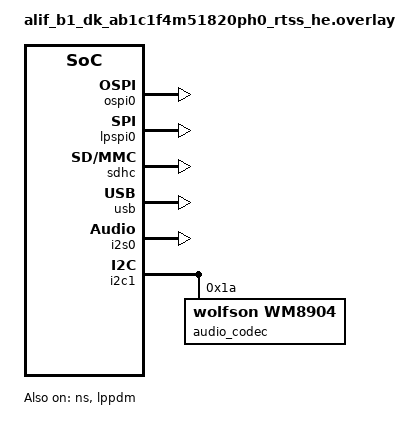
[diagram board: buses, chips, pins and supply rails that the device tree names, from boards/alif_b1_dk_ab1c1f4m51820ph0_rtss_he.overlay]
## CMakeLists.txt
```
# Copyright (C) 2024 Alif Semiconductor - All Rights Reserved.
# Use, distribution and modification of this code is permitted under the
# terms stated in the Alif Semiconductor Software License Agreement
#
# You should have received a copy of the Alif Semiconductor Software
# License Agreement with this file. If not, please write to:
# contact@alifsemi.com, or visit: https://alifsemi.com/license

cmake_minimum_required(VERSION 3.20.0)
find_package(Zephyr REQUIRED HINTS $ENV{ZEPHYR_BASE})
project(exerciser_app)

include(${ZEPHYR_BASE}/samples/subsys/usb/common/common.cmake)
target_sources(app PRIVATE src/main.c src/codec.c src/blinky.c src/ospi.c src/spi.c src/sd.c src/usb.c src/pdm.c src/i2s.c src/hello_sample.h)
```

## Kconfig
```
#
# Copyright (c) 2023 Nordic Semiconductor ASA
# Copyright (c) 2023 Antmicro <www.antmicro.com>
#
# SPDX-License-Identifier: Apache-2.0
#

mainmenu "Filesystems Sample Application"

config FS_SAMPLE_CREATE_SOME_ENTRIES
	bool "When no files are found on mounted partition create some"
	default y
	help
	  In case when no files could be listed, because there are none,
	  "some.dir" directory and "other.txt" file will be created
	  and list will run again to show them. This is useful when
	  showing how file system works on non-SD devices like internal
	  flash or (Q)SPI connected memories, where it is not possible to
	  easily add files with use of other device.

config I2S_INIT_BUFFERS
        int "Initial count of audio data blocks"
        default 2
        help
          Controls the initial count of audio data blocks, which are (optionally)
          filled by data from the DMIC peripheral and played back by the I2S
          output perihperal.

config SAMPLE_FREQ
        int "Sample rate"
        default 48000
        help
          Sample frequency of the system.

source "samples/subsys/usb/common/Kconfig.sample_usbd"

source "Kconfig.zephyr"
```

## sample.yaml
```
sample:
  name: SPI Designware Driver Sample
tests:
  sample.drivers.spi.dw:
    tags: drivers spi gpio dma LED
    filter: dt_enabled_alias_with_parent_compat("led0", "gpio-leds")
    platform_allow: ensemble
    depends_on: gpio
    harness: led
```

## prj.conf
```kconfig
CONFIG_GPIO=y

#ospi

CONFIG_STDOUT_CONSOLE=y
CONFIG_FLASH=y
CONFIG_OSPI_FLASH_IS25WX=y
CONFIG_ARM_MPU=y
CONFIG_CPU_HAS_CUSTOM_FIXED_SOC_MPU_REGIONS=y
CONFIG_EVENTS=y
#CONFIG_MAIN_STACK_SIZE=8192
CONFIG_MAIN_STACK_SIZE=20480
#CONFIG_MAIN_STACK_SIZE=45056
CONFIG_FLASH_LOG_LEVEL_DBG=n
CONFIG_USE_ALIF_HAL_OSPI=y

#spi
CONFIG_STDOUT_CONSOLE=y
CONFIG_SPI=y
CONFIG_SPI_DW=y
CONFIG_SPI_SLAVE=y
CONFIG_SPI_LOG_LEVEL_INF=n
CONFIG_SPI_LOG_LEVEL_DBG=n
CONFIG_LOG=n
CONFIG_DMA=y
CONFIG_DMA_PL330=y
CONFIG_SPI_DW_USE_DMA=y
CONFIG_PRINTK=y
CONFIG_DMA_LOG_LEVEL_INF=n

#sd
#CONFIG_DEBUG=y
#CONFIG_LOG_MODE_IMMEDIATE=y
#CONFIG_NO_OPTIMIZATIONS=y
#CONFIG_LOG_PRINTK=y

#FATFS
CONFIG_FS_SAMPLE_CREATE_SOME_ENTRIES=n
CONFIG_FS_FATFS_WINDOW_ALIGNMENT=512
CONFIG_FS_FATFS_LFN=y
CONFIG_FS_LOG_LEVEL_ERR=y
CONFIG_FS_LOG_LEVEL_INF=y

#SDHC LOG
CONFIG_SDHC_LOG_LEVEL_INF=y
CONFIG_SDHC_LOG_LEVEL_ERR=y

#SDHC DMA
CONFIG_SDHC_RSP_136_HAS_CRC=y
CONFIG_INTEL_EMMC_HOST=y
CONFIG_INTEL_EMMC_HOST_DMA=y
CONFIG_INTEL_EMMC_HOST_ADMA=y


#sd_org_prj
CONFIG_DISK_ACCESS=y
CONFIG_LOG=y
CONFIG_FILE_SYSTEM=y
CONFIG_FAT_FILESYSTEM_ELM=y
#CONFIG_PRINTK=y

# Copyright (c) 2023 Antmicro <www.antmicro.com>
# SPDX-License-Identifier: Apache-2.0

#CONFIG_LOG=y
#CONFIG_LOG_MODE_IMMEDIATE=y

#CONFIG_FILE_SYSTEM=y
##CONFIG_FILE_SYSTEM_EXT2=y

# Enable to allow formatting
## CONFIG_FILE_SYSTEM_MKFS=y
## CONFIG_TEST_RANDOM_GENERATOR=y

#CONFIG_DISK_DRIVER_SDMMC=y

# First block of first partition after GPT
#CONFIG_EXT2_DISK_STARTING_SECTOR=2082

#usb-next
CONFIG_USB_DEVICE_STACK_NEXT=y
CONFIG_STDOUT_CONSOLE=y
CONFIG_SERIAL=y
CONFIG_UART_LINE_CTRL=y
CONFIG_USBD_CDC_ACM_CLASS=y
CONFIG_USBD_LOG_LEVEL_WRN=y
CONFIG_UDC_DRIVER_LOG_LEVEL_WRN=y
CONFIG_USBD_CDC_ACM_LOG_LEVEL_ERR=y
CONFIG_SAMPLE_USBD_PID=0x0001
CONFIG_SAMPLE_USBD_PRODUCT="USBD CDC ACM sample"

#pdm
CONFIG_AUDIO=y
CONFIG_AUDIO_DMIC=y

#i2s
CONFIG_I2S=y
CONFIG_AUDIO=y
CONFIG_AUDIO_DMIC=y

#codec

CONFIG_I2C=y
CONFIG_HEAP_MEM_POOL_SIZE=81920
CONFIG_AUDIO=y
CONFIG_AUDIO_CODEC=y
CONFIG_AUDIO_CODEC_WM8904=y
CONFIG_SAMPLE_FREQ=48000
```

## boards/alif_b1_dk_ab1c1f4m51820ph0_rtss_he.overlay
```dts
/*
 * Copyright (c) 2025 Alif Semiconductor.
 * SPDX-License-Identifier: Apache-2.0
 */

/{
        aliases {
                spi-flash0 = &ospi_flash;
        };
};

&pinctrl {
        //Flash connected with "P2_1_OSPI0_SS1_B" CS line
        pinctrl_flash:pinctrl_flash {
                group0 {
                        pinmux = <PIN_P4_2__OSPI0_SCLK_A>,
                                 <PIN_P4_1__OSPI0_RXDS_A>,
                                 <PIN_P2_1__OSPI0_SS1_B>,
                                 <PIN_P3_0__OSPI0_D0_A>,
                                 <PIN_P3_1__OSPI0_D1_A>,
                                 <PIN_P3_2__OSPI0_D2_A>,
                                 <PIN_P3_3__OSPI0_D3_A>,
                                 <PIN_P3_4__OSPI0_D4_A>,
                                 <PIN_P3_5__OSPI0_D5_A>,
                                 <PIN_P3_6__OSPI0_D6_A>,
                                 <PIN_P3_7__OSPI0_D7_A>;
                        read-enable = <0x1>;
                        drive-strength = <12>;
                        slew-rate = <0x1>;
                };
        };

        //Default AHI Trace pins affects OSPI-Flash pins.
        pinctrl_ahi_trace: pinctrl_ahi_trace {
                group0 {
                        pinmux = <PIN_P8_7__EXT_TX_B>,
                                 <PIN_P8_3__EXT_RTS_B>,
                                 <PIN_P8_5__EXT_TRACE_B>;
                        read-enable = < 0x0 >;
                };
        };
};

&ospi0 {
        pinctrl-0 = <&pinctrl_flash>;
        status = "okay";
};

#define SPI_MASTER_SS_SW_CONTROLLED_GPIO   0

/ {

	aliases {
		master-spi = &lpspi0;
		slave-spi = &spi0;
	};
};

&dma2 {
	status = "okay";
};

&lpspi0 {
	status = "okay";

	dmas = <&dma2 0 13>, <&dma2 1 12>;
	dma-names = "txdma", "rxdma";

#if SPI_MASTER_SS_SW_CONTROLLED_GPIO
	cs-gpios = <&gpio2 0 GPIO_ACTIVE_LOW>;
	interrupts = <46 0>;
#endif
};

#if SPI_MASTER_SS_SW_CONTROLLED_GPIO
&pinctrl_lpspi0 {
	group0 {
		pinmux = < PIN_P1_3__LPSPI_MISO_A >,
			 < PIN_P1_4__LPSPI_MOSI_A >,
			 < PIN_P1_5__LPSPI_SCLK_A >,
			 < PIN_P2_0__GPIO >;
		read-enable = < 0x1 >;
	};
};

&gpio2 {
	status = "okay";
};
#endif
ns: &ns {
        status = "okay";
};

&gpio7 {
        status = "okay";
};

sdhc: &sdhc {
        status = "okay";

        mmc {
                status = "okay";
                disk-name = "SD";
        };
};
zephyr_udc0: &usb {
        status = "okay";
};

&zephyr_udc0 {
        cdc_acm_uart0 {
                compatible = "zephyr,cdc-acm-uart";
                label = "Zephyr USB CDC-ACM";
        };
};
/ {
        aliases {
                pdm-audio = &lppdm;
        };
};

&lppdm {
        status = "okay";
};

/ {
        aliases {
                i2s-codec-tx = &i2s0;
        };
};

&i2s0{
        status ="okay";
};


&pinctrl {
        pinctrl_i2s0:pinctrl_i2s0 {
                group0 {
                        pinmux = < PIN_P2_4__I2S0_SDI_B >,
                                < PIN_P2_5__I2S0_SDO_B >,
                                < PIN_P1_6__I2S0_SCLK_A >,
                                < PIN_P1_7__I2S0_WS_A >;
                };
        };
};

&i2c1 {
       status = "okay";

       audio_codec: wm8904@1a {
               compatible = "wolfson,wm8904";
               reg = <0x1a 0 0>;

               clock-source = "MCLK";

               //clocks = <&clkctl0 MCUX_AUDIO_MCLK>;
               //clock-names = "mclk";
       };
};
```

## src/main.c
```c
#include <zephyr/kernel.h>
#include "exerciser_app.h"

/* Thread stack size and priority */
#define STACK_SIZE 1024
#define BLINKY_PRIORITY 4

K_THREAD_STACK_DEFINE(blinky_stack, STACK_SIZE);
struct k_thread blinky_thread_data;

#define OSPI_PRIORITY 5

K_THREAD_STACK_DEFINE(ospi_stack, STACK_SIZE*4);
struct k_thread ospi_thread_data;

#define SPI_PRIORITY 4

K_THREAD_STACK_DEFINE(spi_stack, STACK_SIZE*4);
struct k_thread spi_thread_data;

#define SD_PRIORITY 4

K_THREAD_STACK_DEFINE(sd_stack, STACK_SIZE*4);
struct k_thread sd_thread_data;

#define USB_PRIORITY 2

K_THREAD_STACK_DEFINE(usb_stack, STACK_SIZE*8);
struct k_thread usb_thread_data;

#define PDM_PRIORITY 5

K_THREAD_STACK_DEFINE(pdm_stack, STACK_SIZE*4);
struct k_thread pdm_thread_data;

#define I2S_PRIORITY 4

K_THREAD_STACK_DEFINE(i2s_stack, STACK_SIZE*4);
struct k_thread i2s_thread_data;

int main(void)
{
	/* Create the blinky thread */
	k_tid_t tidb = k_thread_create(&blinky_thread_data, blinky_stack,
			K_THREAD_STACK_SIZEOF(blinky_stack),
			(k_thread_entry_t)blinky_thread,
			NULL, NULL, NULL, BLINKY_PRIORITY, 3, K_NO_WAIT);
	if (tidb == NULL) {
		printk("Error creating Blinky Thread\n");
	}
		k_tid_t tido = 	k_thread_create(&ospi_thread_data, ospi_stack,
			K_THREAD_STACK_SIZEOF(ospi_stack),
			(k_thread_entry_t)ospi_thread,
			NULL, NULL, NULL, OSPI_PRIORITY, 0xf, K_NO_WAIT);
	if (tido == NULL) {
		printk("Error creating Ospi Thread\n");
	}
	k_tid_t tids = k_thread_create(&spi_thread_data, spi_stack, STACK_SIZE*2,
			(k_thread_entry_t)spi_thread,
			NULL, NULL, NULL,
			SPI_PRIORITY, 4, K_NO_WAIT);

	if (tids == NULL) {
		printk("Error creating SPI Master Thread\n");
	}
	k_tid_t tidsd = k_thread_create(&sd_thread_data, sd_stack, STACK_SIZE*4,
			(k_thread_entry_t)sd_thread,
			NULL, NULL, NULL, SD_PRIORITY, 4, K_NO_WAIT);

	if (tidsd == NULL) {
		printk("Error creating SD thread\n");
	}
	k_tid_t tidu = k_thread_create(&usb_thread_data, usb_stack, STACK_SIZE*8,
			(k_thread_entry_t)usb_thread,
			NULL, NULL, NULL, USB_PRIORITY, 0, K_NO_WAIT);

	if (tidu == NULL) {
		printk("Error creating USB thread\n");
	}
	k_tid_t tidp = k_thread_create(&pdm_thread_data, pdm_stack, STACK_SIZE*4,
			(k_thread_entry_t)pdm_thread,
			NULL, NULL, NULL, PDM_PRIORITY, 2, K_NO_WAIT);

	if (tidp == NULL) {
		printk("Error creating USB thread\n");
	}
	k_tid_t tidi = k_thread_create(&i2s_thread_data, i2s_stack, STACK_SIZE*4,
			(k_thread_entry_t)i2s_thread,
			NULL, NULL, NULL, I2S_PRIORITY, 8, K_NO_WAIT);

	if (tidi == NULL) {
		printk("Error creating USB thread\n");
	}
	return 0;
}
```

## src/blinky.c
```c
#include <zephyr/kernel.h>
#include <zephyr/drivers/gpio.h>
#include <zephyr/sys/printk.h>
#include <stdio.h>
#include "exerciser_app.h"
 
/* 1000 msec = 1 sec */
#define SLEEP_TIME_MS   1000
 
/* The devicetree node identifier for the "led0" alias. */
#define LED0_NODE DT_ALIAS(led0)
 
/*
* A build error on this line means your board is unsupported.
*/
static const struct gpio_dt_spec led = GPIO_DT_SPEC_GET(LED0_NODE, gpios);
 
/* This thread will run in a loop */
void blinky_thread(void)
{
    int ret;
    bool led_state = true;
 
    if (!gpio_is_ready_dt(&led)) {
        printk("LED GPIO not ready\n");
        return;
    }
 
    ret = gpio_pin_configure_dt(&led, GPIO_OUTPUT_ACTIVE);
    if (ret < 0) {
        printk("LED GPIO configure failed\n");
        return;
    }
 
    while (1) {
        gpio_pin_toggle_dt(&led);
 
        led_state = !led_state;
        //printk("LED state: %s\n", led_state ? "ON" : "OFF");
 
        k_msleep(SLEEP_TIME_MS);
    }
}
```

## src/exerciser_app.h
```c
#ifndef EXERCISER_APP_H
#define EXERCISER_APP_H
 
void blinky_thread(void);
void ospi_thread(void);
void spi_thread(void);
void sd_thread(void);
void usb_thread(void);
void pdm_thread(void);
void i2s_thread(void);
 
#endif // EXERCISER_APP_H
```

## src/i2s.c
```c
/*
 * Copyright 2024 NXP
 *
 * SPDX-License-Identifier: Apache-2.0
 */

#include <zephyr/kernel.h>
#include <zephyr/sys/printk.h>
#include <zephyr/audio/dmic.h>
#include <zephyr/drivers/i2s.h>
#include <zephyr/audio/codec.h>
#include <string.h>
#include "exerciser_app.h"
#include "hello_sample.h"

#define I2S_CODEC_TX  DT_ALIAS(i2s_codec_tx)

#define SAMPLE_FREQUENCY    CONFIG_SAMPLE_FREQ
#define SAMPLE_BIT_WIDTH    (24U)
#define BYTES_PER_SAMPLE    sizeof(int16_t)
#if CONFIG_USE_DMIC
#define NUMBER_OF_CHANNELS  CONFIG_DMIC_CHANNELS
#else
#define NUMBER_OF_CHANNELS (2U)
#endif
/* Such block length provides an echo with the delay of 100 ms. */
// #define SAMPLES_PER_BLOCK   ((SAMPLE_FREQUENCY / 10) * NUMBER_OF_CHANNELS)
// #define INITIAL_BLOCKS      CONFIG_I2S_INIT_BUFFERS
// #define TIMEOUT             (2000U)

//#define BLOCK_SIZE  (BYTES_PER_SAMPLE * SAMPLES_PER_BLOCK)
//#define BLOCK_COUNT (INITIAL_BLOCKS + 32)
//K_MEM_SLAB_DEFINE_STATIC(mem_slab, BLOCK_SIZE, BLOCK_COUNT, 4);

#define SAMPLE_NO 64

/* The data represent a sine wave */
static int16_t data[SAMPLE_NO] = {
	3211,   6392,   9511,  12539,  15446,  18204,  20787,  23169,
	25329,  27244,  28897,  30272,  31356,  32137,  32609,  32767,
	32609,  32137,  31356,  30272,  28897,  27244,  25329,  23169,
	20787,  18204,  15446,  12539,   9511,   6392,   3211,      0,
	-3212,  -6393,  -9512, -12540, -15447, -18205, -20788, -23170,
	-25330, -27245, -28898, -30273, -31357, -32138, -32610, -32767,
	-32610, -32138, -31357, -30273, -28898, -27245, -25330, -23170,
	-20788, -18205, -15447, -12540,  -9512,  -6393,  -3212,     -1,
};

/* Fill buffer with sine wave on left channel, and sine wave shifted by
 * 90 degrees on right channel. "att" represents a power of two to attenuate
 * the samples by
 */
static void fill_buf(int16_t *tx_block, int att)
{
	int r_idx;

	for (int i = 0; i < SAMPLE_NO; i++) {
		/* Left channel is sine wave */
		tx_block[2 * i] = data[i] / (1 << att);
		/* Right channel is same sine wave, shifted by 90 degrees */
		r_idx = (i + (ARRAY_SIZE(data) / 4)) % ARRAY_SIZE(data);
		tx_block[2 * i + 1] = data[r_idx] / (1 << att);
	}
}

/*static void fill_hellosample(int32_t *tx_block, int32_t len) {

  for (int i = 0; i < len ; i ++)
  tx_block[i] = ulHelloSamples24bit48khz[i];
  }*/

#define NUM_BLOCKS 20
#define BLOCK_SIZE (2 * sizeof(data))

#ifdef CONFIG_NOCACHE_MEMORY
#define MEM_SLAB_CACHE_ATTR __nocache
#else
#define MEM_SLAB_CACHE_ATTR
#endif /* CONFIG_NOCACHE_MEMORY */

static char MEM_SLAB_CACHE_ATTR __aligned(WB_UP(32))
	_k_mem_slab_buf_tx_0_mem_slab[(NUM_BLOCKS) * WB_UP(BLOCK_SIZE)];

	static STRUCT_SECTION_ITERABLE(k_mem_slab, tx_0_mem_slab) =
	Z_MEM_SLAB_INITIALIZER(tx_0_mem_slab, _k_mem_slab_buf_tx_0_mem_slab,
			WB_UP(BLOCK_SIZE), NUM_BLOCKS);

#define SLAB_TOTAL_SIZE sizeof(ulHelloSamples24bit48khz)
#define SLAB_BLOCK_SIZE (SLAB_TOTAL_SIZE / 1024)
#define SLAB_NUM_BLOCK  (SLAB_TOTAL_SIZE / SLAB_BLOCK_SIZE)

K_MEM_SLAB_DEFINE(tx_slab, SLAB_BLOCK_SIZE, SLAB_NUM_BLOCK, 4);

void i2s_thread(void)
{
	uint32_t tx_idx, flag;
	void *tx_block[NUM_BLOCKS];

	struct i2s_config i2s_cfg;

	const struct device *const i2s_dev_codec = DEVICE_DT_GET(I2S_CODEC_TX);
	const struct device *const codec_dev = DEVICE_DT_GET(DT_NODELABEL(audio_codec));
	struct i2s_config config;
	struct audio_codec_cfg audio_cfg;
	int ret;
	printf("[ I2S ]codec sample\n");

	if (!device_is_ready(i2s_dev_codec)) {
		printf("[ I2S ]%s is not ready\n", i2s_dev_codec->name);
		return;
	}

	if (!device_is_ready(codec_dev)) {
		printf("[ I2S ]%s is not ready", codec_dev->name);
		return;
	}
	//audio_cfg.dai_route = AUDIO_ROUTE_PLAYBACK;
	audio_cfg.dai_type = AUDIO_DAI_TYPE_I2S;
	audio_cfg.dai_cfg.i2s.word_size = SAMPLE_BIT_WIDTH;
	audio_cfg.dai_cfg.i2s.channels =  2;
	audio_cfg.dai_cfg.i2s.format = I2S_FMT_DATA_FORMAT_I2S;
	audio_cfg.dai_cfg.i2s.options = I2S_OPT_FRAME_CLK_MASTER;
	audio_cfg.dai_cfg.i2s.frame_clk_freq = SAMPLE_FREQUENCY;
	audio_cfg.dai_cfg.i2s.mem_slab = &tx_0_mem_slab;
	audio_cfg.dai_cfg.i2s.block_size = BLOCK_SIZE;
	audio_codec_configure(codec_dev, &audio_cfg);
	k_msleep(1000);


	/* Configure I2S stream */
	i2s_cfg.word_size = 16U;
	i2s_cfg.channels = 2U;
	i2s_cfg.format = I2S_FMT_DATA_FORMAT_I2S;
	i2s_cfg.frame_clk_freq = SAMPLE_FREQUENCY;
	i2s_cfg.block_size = BLOCK_SIZE;
	i2s_cfg.timeout = 2000;
	/* Configure the Transmit port as Master */
	i2s_cfg.options = I2S_OPT_FRAME_CLK_MASTER
		| I2S_OPT_BIT_CLK_MASTER;
	i2s_cfg.mem_slab = &tx_0_mem_slab;
	while(1){
		ret = i2s_configure(i2s_dev_codec, I2S_DIR_TX, &i2s_cfg);
		if (ret < 0) {
			printf("[ I2S ]Failed to configure I2S stream\n");
		}
		/* Prepare all TX blocks */
		for (tx_idx = 0; tx_idx < NUM_BLOCKS; tx_idx++) {
			ret = k_mem_slab_alloc(&tx_0_mem_slab, &tx_block[tx_idx],
					K_FOREVER);
			if (ret < 0) {
				printf("[ I2S ]Failed to allocate TX block\n");
			}
			fill_buf((uint16_t *)tx_block[tx_idx], tx_idx % 3);
		}
		for(;;) {
			flag = 0;
			tx_idx = 0;
			/* Send first block */
			ret = i2s_write(i2s_dev_codec, tx_block[tx_idx++], BLOCK_SIZE);
			if (ret < 0) {
				printf("[ I2S ]Could not write TX buffer %d, error %d\n", tx_idx,ret);
				flag++;//		return;
			}
//			k_msleep(1000);
			/* Trigger the I2S transmission */
			ret = i2s_trigger(i2s_dev_codec, I2S_DIR_TX, I2S_TRIGGER_START);
			if (ret < 0) {
				printf("[ I2S ]Could not trigger I2S tx, error %d\n",ret);
				flag++;//		return;
			}
			for (; tx_idx < NUM_BLOCKS; ) {
				ret = i2s_write(i2s_dev_codec, tx_block[tx_idx++], BLOCK_SIZE);
				if (ret < 0) {
					printf("[ I2S ]Could not write TX buffer %d, error %d\n", tx_idx,ret);
					flag++;//			return;
				}
			}
			/* Drain TX queue */
			ret = i2s_trigger(i2s_dev_codec, I2S_DIR_TX, I2S_TRIGGER_DRAIN);
			if (ret < 0) {
				printf("[ I2S ]Could not trigger I2S Trigger Drain tx, error %d\n",ret);
				i2s_trigger(i2s_dev_codec, I2S_DIR_TX, I2S_TRIGGER_PREPARE);
				flag++;//		return ret;
			}
			printf("[ I2S ]All I2S blocks written\n");
			if(flag != 0){
				break;
			}
		}
	}
	return;

}
```

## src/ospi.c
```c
/*
 * Copyright (c) 2024 Alif Semiconductor
 * SPDX-License-Identifier: Apache-2.0
 */

#include <stdio.h>
#include <string.h>
#include <zephyr/device.h>
#include <zephyr/devicetree.h>
#include <zephyr/drivers/flash.h>
#include <zephyr/kernel.h>
#include "exerciser_app.h"

#define SPI_FLASH_TEST_REGION_OFFSET 0x0
#define SPI_FLASH_SECTOR_SIZE        4096
#define BUFF_SIZE                    1024

const struct flash_parameters *flash_param;

void single_sector_test(const struct device *flash_dev)
{
	const uint8_t expected[] = {0x55, 0xaa, 0x66, 0x99};
	const size_t len = ARRAY_SIZE(expected);
	uint8_t buf[len];
	int rc;
	int i, e_count = 0;

	printf("\n[ OSPI ]Test 1: Flash erase\n");

	/* Full flash erase if SPI_FLASH_TEST_REGION_OFFSET = 0 and
	 * SPI_FLASH_SECTOR_SIZE = flash size
	 */
	rc = flash_erase(flash_dev, SPI_FLASH_TEST_REGION_OFFSET, SPI_FLASH_SECTOR_SIZE);
	if (rc != 0) {
		printf("[ OSPI ]Flash erase failed! %d\n", rc);
	} else {
		printf("[ OSPI ]Flash erase succeeded!\n");
	}

	printf("\n[ OSPI ]Test 1: Flash write\n");

	printf("[ OSPI ]Attempting to write %zu bytes\n", len);
	rc = flash_write(flash_dev, SPI_FLASH_TEST_REGION_OFFSET, expected, len);
	if (rc != 0) {
		printf("[ OSPI ]Flash write failed! %d\n", rc);
		return;
	}

	printf("\n[ OSPI ]Test 1: Flash read\n");

	memset(buf, 0, len);
	rc = flash_read(flash_dev, SPI_FLASH_TEST_REGION_OFFSET, buf, len);
	if (rc != 0) {
		printf("[ OSPI ]Flash read failed! %d\n", rc);
		return;
	}

	for (i = 0; i < len; i++) {
		if (buf[i] != expected[i]) {
			e_count++;
			printf("[ OSPI ]Not matched at [%d] _w[%4x] _r[%4x]\n", i, expected[i], buf[i]);
		}
	}

	if (e_count) {
		printf("[ OSPI ]Error:Data read NOT matches data written\n");
	} else {
		printf("[ OSPI ]Data read matches data written. Good!!\n");
	}
}

void erase_test(const struct device *dev, uint32_t len)
{
	int ret = 0, i = 0, count = 0;
	uint8_t r_buf[BUFF_SIZE] = {0};

	printf("\n[ OSPI ]Test 2: Flash Full Erase\n");

	ret = flash_erase(dev, SPI_FLASH_TEST_REGION_OFFSET, len);
	if (ret == 0) {
		printf("[ OSPI ]Successfully Erased whole Flash Memory\n");
	} else {
		printf("[ OSPI ]Error: Bulk Erase Failed [%d]\n", ret);
	}

	/* Read data Cleared Buffer */
	ret = flash_read(dev, SPI_FLASH_TEST_REGION_OFFSET, r_buf, BUFF_SIZE);
	if (ret != 0) {
		printf("[ OSPI ]Error: [RetVal :%d] Reading Erased value\n", ret);
		return;
	}

	/* Verify the read data */
	for (i = 0; i < BUFF_SIZE; i++) {
		if (r_buf[i] != flash_param->erase_value) {
			count++;
		}
	}

	printf("[ OSPI ]Total errors after reading erased chip = %d\n", count);
}

void multi_page_test(const struct device *flash_dev)
{
	int rc, i, e_count = 0;

	uint8_t w_buf[BUFF_SIZE] = {0};
	uint8_t r_buf[BUFF_SIZE] = {0};

	const size_t len = ARRAY_SIZE(w_buf);

	printf("\n[ OSPI ]Test 3: Flash erase\n");

	/* Full flash erase if SPI_FLASH_TEST_REGION_OFFSET = 0 and
	 * SPI_FLASH_SECTOR_SIZE = flash size
	 */
	rc = flash_erase(flash_dev, SPI_FLASH_TEST_REGION_OFFSET, SPI_FLASH_SECTOR_SIZE);
	if (rc != 0) {
		printf("[ OSPI ]Flash erase failed! %d\n", rc);
	} else {
		printf("[ OSPI ]Flash erase succeeded!\n");
	}

	for (i = 0; i < BUFF_SIZE; i++) {
		w_buf[i] = i % 256;
	}

	printf("\n[ OSPI ]Test 3: Flash write\n");

	printf("[ OSPI ]Attempting to write %zu bytes\n", len);
	rc = flash_write(flash_dev, SPI_FLASH_TEST_REGION_OFFSET, w_buf, len);
	if (rc != 0) {
		printf("[ OSPI ]Flash write failed! %d\n", rc);
		return;
	}

	printf("\n[ OSPI ]Test 3: Flash read\n");

	memset(r_buf, 0, len);
	rc = flash_read(flash_dev, SPI_FLASH_TEST_REGION_OFFSET, r_buf, len);
	if (rc != 0) {
		printf("[ OSPI ]Flash read failed! %d\n", rc);
		return;
	}

	for (i = 0; i < BUFF_SIZE; i++) {
		if (r_buf[i] != w_buf[i]) {
			e_count++;
			printf("[ OSPI ]Not matched at [%d] _w[%4x] _r[%4x]\n", i, w_buf[i], r_buf[i]);
		}
	}

	if (e_count) {
		printf("[ OSPI ]Error:Data read NOT matches data written\n");
		printf("[ OSPI ] -- number of Unmatched data [%d]\n", e_count);
	} else {
		printf("[ OSPI ]Data read matches data written. Good!!\n");
	}
}

#define SPI_FLASH_SECTOR_4_OFFSET (4 * 1024 * 4)
#define SPI_FLASH_SECTOR_5_OFFSET (5 * 1024 * 4)

void multi_sector_test(const struct device *flash_dev)
{
	int rc, i, e_count = 0;

	uint8_t w_buf[BUFF_SIZE] = {0};
	uint8_t r_buf[BUFF_SIZE] = {0};

	const size_t len = ARRAY_SIZE(w_buf);

	for (i = 0; i < BUFF_SIZE; i++) {
		w_buf[i] =  i % 256;
	}

	printf("\n[ OSPI ]Test 4: write sector %d\n", SPI_FLASH_SECTOR_4_OFFSET);
	/* Write into Sector 4 */
	rc = flash_write(flash_dev, SPI_FLASH_SECTOR_4_OFFSET, w_buf, len);
	if (rc != 0) {
		printf("\n[ OSPI ]Flash write failed at Sec 4! %d\n", rc);
		return;
	}

	printf("\n[ OSPI ]Test 4: write sector %d\n", SPI_FLASH_SECTOR_5_OFFSET);
	/* Write into Sector 5 */
	rc = flash_write(flash_dev, SPI_FLASH_SECTOR_5_OFFSET, w_buf, len);
	if (rc != 0) {
		printf("\n[ OSPI ]Flash write failed at Sec 5! %d\n", rc);
		return;
	}

	/* Read from Sector 4 */
	printf("[ OSPI ]Sec4: Read and Verify written data\n");

	e_count = 0;
	memset(r_buf, 0, len);

	printf("\n[ OSPI ]Test 4: read sector %d\n", SPI_FLASH_SECTOR_4_OFFSET);

	rc = flash_read(flash_dev, SPI_FLASH_SECTOR_4_OFFSET, r_buf, len);
	if (rc != 0) {
		printf("[ OSPI ]Flash read failed at Sector 4! %d\n", rc);
		return;
	}

	for (i = 0; i < BUFF_SIZE; i++) {
		if (r_buf[i] != w_buf[i]) {
			e_count++;
			printf("[ OSPI ]Not matched at [%d] _w[%4x] _r[%4x]\n", i, w_buf[i], r_buf[i]);
		}
	}

	if (e_count) {
		printf("\n[ OSPI ]Error:Data read NOT matches data written\n");
		printf("[ OSPI ] -- number of Unmatched data [%d]\n", e_count);
	} else {
		printf("\n[ OSPI ]Data read matches data written. Good!!\n");
	}

	/* Read from Sector 5 */
	printf("[ OSPI ]Sec5: Read and Verify written data\n");

	e_count = 0;
	memset(r_buf, 0, len);

	printf("\n[ OSPI ]Test 4: read sector %d\n", SPI_FLASH_SECTOR_5_OFFSET);

	rc = flash_read(flash_dev, SPI_FLASH_SECTOR_5_OFFSET, r_buf, len);
	if (rc != 0) {
		printf("[ OSPI ]Flash read failed at Sector 5! %d\n", rc);
		return;
	}

	for (i = 0; i < BUFF_SIZE; i++) {
		if (r_buf[i] != w_buf[i]) {
			e_count++;
			printf("[ OSPI ]Not matched at [%d] _w[%4x] _r[%4x]\n", i, w_buf[i], r_buf[i]);
		}
	}

	if (e_count) {
		printf("[ OSPI ]Error:Data read NOT matches data written\n");
		printf("[ OSPI ] -- number of Unmatched data [%d]\n", e_count);
	} else {
		printf("[ OSPI ]Data read matches data written. Good!!\n");
	}

	/* Erase multiple Sector Sec 4+5 */
	printf("\n[ OSPI ]Test 4: Erase Sector 4 and 5\n");
	printf("[ OSPI ]Flash Erase from Sector %d Size to Erase %d\n", SPI_FLASH_SECTOR_4_OFFSET,
			SPI_FLASH_SECTOR_SIZE * 2);

	rc = flash_erase(flash_dev, SPI_FLASH_SECTOR_4_OFFSET, SPI_FLASH_SECTOR_SIZE * 2);
	if (rc != 0) {
		printf("\n[ OSPI ]Multi-Sector erase failed! %d\n", rc);
	} else {
		printf("\n[ OSPI ]Multi-Sector erase succeeded!\n");
	}

	int count_1 = 0;

	memset(r_buf, 0, len);

	printf("\n[ OSPI ]Test 4: read sector %d\n", SPI_FLASH_SECTOR_4_OFFSET);
	/* Read Erased value and compare */
	rc = flash_read(flash_dev, SPI_FLASH_SECTOR_4_OFFSET, r_buf, BUFF_SIZE);
	if (rc != 0) {
		printf("[ OSPI ]Error: [RetVal :%d] Reading Erased value\n", rc);
		return;
	}

	/* Verify the read data */
	for (i = 0; i < BUFF_SIZE; i++) {
		if (r_buf[i] != flash_param->erase_value) {
			count_1++;
		}
	}

	printf("[ OSPI ]Total errors after reading erased Sector 4 = %d\n", count_1);

	int count_2 = 0;

	memset(r_buf, 0, len);
	printf("\n[ OSPI ]Test 4: read sector %d\n", SPI_FLASH_SECTOR_5_OFFSET);

	/* Read Erased value and compare */
	rc = flash_read(flash_dev, SPI_FLASH_SECTOR_5_OFFSET, r_buf, BUFF_SIZE);
	if (rc != 0) {
		printf("[ OSPI ]Error: [RetVal :%d] Reading Erased value\n", rc);
		return;
	}

	/* Verify the read data */
	for (i = 0; i < BUFF_SIZE; i++) {
		if (r_buf[i] != flash_param->erase_value) {
			count_2++;
		}
	}

	printf("[ OSPI ]Total errors after reading erased Sector 5 = %d\n", count_2);

	if (count_1 == 0 && count_2 == 0) {
		printf("\n[ OSPI ]Multi-Sector Erase Test Succeeded !\n");
	} else {
		printf("\n[ OSPI ]Multi-Sector Erase Failed\n");
	}
}

void xip_test(const struct device *flash_dev)
{
	uint8_t i;
	uint32_t xip_r[64] = {0}, fls_r[64] = {0}, cnt;
	uint32_t *ptr = (uint32_t *)DT_PROP_BY_IDX(DT_PARENT(DT_ALIAS(spi_flash0)),
			xip_base_address, 0);
	int32_t rc, e_count = 0;

	printf("\n[ OSPI ]Test 5: XiP Read\n");

	memcpy(xip_r, ptr, sizeof(xip_r));

	printf("[ OSPI ]Content Read from OSPI Flash in XiP Mode successfully\n\n");

	cnt = ARRAY_SIZE(xip_r);

	printf("[ OSPI ]Read from Flash cmd while XiP Mode turnned on\n\n");

	rc = flash_read(flash_dev, SPI_FLASH_TEST_REGION_OFFSET,
			fls_r, cnt * sizeof(uint32_t));
	if (rc != 0) {
		printf("[ OSPI ]Flash read failed! %d\n", rc);
		return;
	}

	for (i = 0; i < cnt; i++)
		if (fls_r[i] != xip_r[i]) {
			e_count++;
		}

	if (!e_count) {
		printf("[ OSPI ]XiP Read Test Succceeded !!\n\n");
	} else {
		printf("[ OSPI ]XiP Test Failed !"
				" contents are NOT Matching : Err Count [%d]!!!\n", e_count);
	}
}

void ospi_thread(void)
{
	const struct device *flash_dev = DEVICE_DT_GET(DT_ALIAS(spi_flash0));

	if (!device_is_ready(flash_dev)) {
		printk("[ OSPI ]%s: device not ready.\n", flash_dev->name);
		return;
	}
	while(1){
		printf("\n[ OSPI ]%s OSPI flash testing\n", flash_dev->name);
		printf("========================================\n");
		flash_param = flash_get_parameters(flash_dev);

		printf("[ OSPI ]****Flash Configured Parameters******\n");
		printf("[ OSPI ]* Num Of Sectors : %d\n", flash_param->num_of_sector);
		printf("[ OSPI ]* Sector Size : %d\n", flash_param->sector_size);
		printf("[ OSPI ]* Page Size : %d\n", flash_param->page_size);
		printf("[ OSPI ]* Erase value : %d\n", flash_param->erase_value);
		printf("[ OSPI ]* Write Blk Size: %d\n", flash_param->write_block_size);
		printf("[ OSPI ]* Total Size in MB: %d\n",
				(flash_param->num_of_sector * flash_param->sector_size) / (1024 * 1024));

		/* ---- RUN ALL OSPI TESTS HERE ---- */
		single_sector_test(flash_dev);
		erase_test(flash_dev, flash_param->num_of_sector * flash_param->sector_size);
		multi_page_test(flash_dev);
		multi_sector_test(flash_dev);

#ifdef CONFIG_ALIF_OSPI_FLASH_XIP
		xip_test(flash_dev);
#endif
		printf("\n[ OSPI ]OSPI flash test thread completed.\n");
	};
} 
```

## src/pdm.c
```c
/*
 * Copyright (C) 2024 Alif Semiconductor.
 * SPDX-License-Identifier: Apache-2.0
 */

#include <zephyr/kernel.h>
#include <zephyr/device.h>
#include <zephyr/audio/dmic.h>
#include <zephyr/drivers/pdm/pdm_alif.h>
#include <string.h>
#include <zephyr/logging/log.h>
#include "exerciser_app.h"

LOG_MODULE_REGISTER(PDM, LOG_LEVEL_INF);

#define PDM_NODE	DT_ALIAS(pdm_audio)

#define CHANNEL_4  4
#define CHANNEL_5  5

/* PDM Channel 4 configurations */
#define CH4_PHASE			0x0000001F
#define CH4_GAIN			0x0000000D
#define CH4_PEAK_DETECT_TH		0x00060002
#define CH4_PEAK_DETECT_ITV		0x0004002D

/* PDM Channel 5 configurations */
#define CH5_PHASE			0x00000003
#define CH5_GAIN			0x00000013
#define CH5_PEAK_DETECT_TH		0x00060002
#define CH5_PEAK_DETECT_ITV		0x00020027

#define SAMPLE_BIT_WIDTH		16
#define TIMEOUT				5000

struct pdm_ch_config pdm_coef_reg;

uint32_t ch4_fir[18] = {0x00000001, 0x00000003, 0x00000003, 0x000007F4,
		0x00000004, 0x000007ED, 0x000007F5, 0x000007F4, 0x000007D3,
		0x000007FE, 0x000007BC, 0x000007E5, 0x000007D9, 0x00000793,
		0x00000029, 0x0000072C, 0x00000072, 0x000002FD};

/* Channel 5 FIR coefficient */
uint32_t ch5_fir[18] = {0x00000000, 0x000007FF, 0x00000000, 0x00000004,
		0x00000004, 0x000007FC, 0x00000000, 0x000007FB, 0x000007E4,
		0x00000000, 0x0000002B, 0x00000009, 0x00000016, 0x00000049,
		0x00000793, 0x000006F8, 0x00000045, 0x00000178};

/* The number of channels tested - changes with the test case */
#define NUM_CHANNELS	2
/*
 * Driver will allocate blocks from this slab to receive audio data into them.
 * Application, after getting a given block from the driver and processing its
 * data, needs to free that block.
 */
#define PCMJ_BLOCK_SIZE		15000

/* Number of blocks in the slab */
#define MEM_SLAB_NUM_BLOCKS		2

/* size of buffer where the whole data is stored */
#define DATA_SIZE	(PCMJ_BLOCK_SIZE * MEM_SLAB_NUM_BLOCKS)

static uint8_t pcmj_data[DATA_SIZE];

K_MEM_SLAB_DEFINE(mem_slab, PCMJ_BLOCK_SIZE, MEM_SLAB_NUM_BLOCKS, 4);

/*
 * The list of channels to test
 * The number of channels should match the PDM_CHANNELS
 */
#define PDM_CHANNELS	PDM_MASK_CHANNEL_4 | PDM_MASK_CHANNEL_5

void pdm_ch_config(void)
{
	const struct device *pcmj_device = DEVICE_DT_GET(PDM_NODE);

	pdm_set_ch_phase(pcmj_device, CHANNEL_4, CH4_PHASE);

	pdm_set_ch_gain(pcmj_device, CHANNEL_4, CH4_GAIN);

	pdm_set_peak_detect_th(pcmj_device, CHANNEL_4, CH4_PEAK_DETECT_TH);

	pdm_set_peak_detect_itv(pcmj_device, CHANNEL_4, CH4_PEAK_DETECT_ITV);

	pdm_coef_reg.ch_num  = 4;

	/* Channel 4 fir coefficient */
	memcpy(pdm_coef_reg.ch_fir_coef, ch4_fir, sizeof(pdm_coef_reg.ch_fir_coef));

	/* Channel IIR Filter Coefficient */
	pdm_coef_reg.ch_iir_coef	= 0x00000004;

	pdm_channel_config(pcmj_device, &pdm_coef_reg);

	pdm_set_ch_gain(pcmj_device, CHANNEL_5, CH5_GAIN);

	pdm_set_ch_phase(pcmj_device, CHANNEL_5, CH5_PHASE);

	pdm_set_peak_detect_th(pcmj_device, CHANNEL_5, CH5_PEAK_DETECT_TH);

	pdm_set_peak_detect_itv(pcmj_device, CHANNEL_5, CH5_PEAK_DETECT_ITV);

	pdm_coef_reg.ch_num  = 5;

	/* Channel 5 fir coefficient */
	memcpy(pdm_coef_reg.ch_fir_coef, ch5_fir, sizeof(pdm_coef_reg.ch_fir_coef));

	/* Channel IIR Filter Coefficient */
	pdm_coef_reg.ch_iir_coef	= 0x00000004;

	pdm_channel_config(pcmj_device, &pdm_coef_reg);

	pdm_mode(pcmj_device, PDM_MODE_STANDARD_VOICE_512_CLK_FRQ);
}

static int config_channel(const struct device *dmic_dev,
				struct dmic_cfg *cfg, uint8_t block_count)
{
	int rc;
	int k = 0;
	int i = 0;
	uint32_t data;

	if (dmic_dev == NULL || cfg == NULL) {
		LOG_ERR("%s: input invalid\n", __func__);
		return -1;
	}
	while(1){
	dmic_configure(dmic_dev, cfg);

	pdm_ch_config();

	printf("[ PDM ]Start Speaking or Play some Audio!\n");

	rc = dmic_trigger(dmic_dev, DMIC_TRIGGER_START);
	if (rc < 0) {
		LOG_ERR("dmic_trigger error\n");
	//	return rc;
	}

	void *buffer;

	k = 0;

	for (i = 0; i < block_count; ++i) {
		rc = dmic_read(dmic_dev, 0, &buffer, &data, TIMEOUT);
		if (rc < 0) {
			dmic_trigger(dmic_dev, DMIC_TRIGGER_STOP);
	//		return rc;
		}

		/* copy the data from the buffer to the pcmj data */
		if (k + data <= DATA_SIZE) {
			memcpy(pcmj_data + k, buffer, data);
			k += data;
		}

		k_mem_slab_free(&mem_slab, buffer);
	}

	printf("[ PDM ]Stop recording\n");
	LOG_INF("PCM samples will be stored in %p address and size of "
	"buffer is %d\n", (void *)pcmj_data, sizeof(pcmj_data));
	LOG_INF("Block freed at address: %p\n", (void *)buffer);

	rc = dmic_trigger(dmic_dev, DMIC_TRIGGER_STOP);
	}
	return rc;
}

void print_data(void)
{
	int32_t i;
	/*
	 * print the pointer where the data is stored and first 80 bytes of data
	 */
	LOG_INF("pcm data : %p\n", (void *)pcmj_data);

	for (i = 0; i < 80; i += 8) {
		LOG_INF(" %x %x %x %x %x %x %x %x\n", pcmj_data[i], pcmj_data[i+1],
		pcmj_data[i+2], pcmj_data[i+3], pcmj_data[i+4], pcmj_data[i+5],
		pcmj_data[i+6], pcmj_data[i+7]);
	} k_msleep(500);
}

void set_config(struct dmic_cfg *cfg, struct pcm_stream_cfg *stream)
{
	uint32_t channel_map = 0;

	stream->pcm_width = SAMPLE_BIT_WIDTH;
	cfg->streams = stream;
	cfg->streams[0].mem_slab = &mem_slab;
	cfg->channel.req_num_streams = 1;
	cfg->channel.req_num_chan = NUM_CHANNELS;
	cfg->streams[0].block_size = PCMJ_BLOCK_SIZE;

	channel_map = PDM_CHANNELS;

	cfg->channel.req_chan_map_lo = channel_map;

	LOG_INF("memslab: %p\n", cfg->streams[0].mem_slab);
	LOG_INF("channel_map %x block size: %x\n", channel_map, PCMJ_BLOCK_SIZE);
}

void init_pdm(void)
{
	const struct device *pcmj_device;
	struct dmic_cfg cfg;
	struct pcm_stream_cfg stream;

	LOG_INF("PDM init okay\n");

	pcmj_device = DEVICE_DT_GET(PDM_NODE);

	if (!pcmj_device) {
		LOG_ERR("pcmj_device not found\n");
		return;
	}

	if (!device_is_ready(pcmj_device)) {
		LOG_ERR("device not ready\n");
		return;
	}

	set_config(&cfg, &stream);

	config_channel(pcmj_device, &cfg, MEM_SLAB_NUM_BLOCKS);

	print_data();
}

void pdm_thread(void)
{
	init_pdm();

	return;
}
```

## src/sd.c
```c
/*
 * Copyright (c) 2019 Tavish Naruka <tavishnaruka@gmail.com>
 * Copyright (c) 2023 Nordic Semiconductor ASA
 * Copyright (c) 2023 Antmicro <www.antmicro.com>
 *
 * SPDX-License-Identifier: Apache-2.0
 */

/* Sample which uses the filesystem API and SDHC driver */

#include <zephyr/kernel.h>
#include <zephyr/device.h>
#include <zephyr/storage/disk_access.h>
#include <zephyr/logging/log.h>
#include <zephyr/fs/fs.h>
#include "exerciser_app.h"

#if defined(CONFIG_FAT_FILESYSTEM_ELM)

#include <ff.h>

/*
 *  Note the fatfs library is able to mount only strings inside _VOLUME_STRS
 *  in ffconf.h
 */
#if defined(CONFIG_DISK_DRIVER_MMC)
#define DISK_DRIVE_NAME "SD2"
#else
#define DISK_DRIVE_NAME "SD"
#endif

#define DISK_MOUNT_PT "/"DISK_DRIVE_NAME":"

static FATFS Z_GENERIC_SECTION(CONFIG_SD_BUFFER_SECTION) fat_fs;
/* mounting info */
static struct fs_mount_t mp = {
	.type = FS_FATFS,
	.fs_data = &fat_fs,
};

#elif defined(CONFIG_FILE_SYSTEM_EXT2)

#include <zephyr/fs/ext2.h>

#define DISK_DRIVE_NAME "SD"
#define DISK_MOUNT_PT "/ext"

static struct fs_mount_t mp = {
	.type = FS_EXT2,
	.flags = FS_MOUNT_FLAG_NO_FORMAT,
	.storage_dev = (void *)DISK_DRIVE_NAME,
	.mnt_point = "/ext",
};

#endif

#if defined(CONFIG_FAT_FILESYSTEM_ELM)
#define FS_RET_OK FR_OK
#else
#define FS_RET_OK 0
#endif

LOG_MODULE_REGISTER(main);

#define MAX_PATH 128
#define SOME_FILE_NAME "some.dat"
#define SOME_DIR_NAME "some"
#define SOME_REQUIRED_LEN MAX(sizeof(SOME_FILE_NAME), sizeof(SOME_DIR_NAME))

static int lsdir(const char *path);
#ifdef CONFIG_FS_SAMPLE_CREATE_SOME_ENTRIES
static bool create_some_entries(const char *base_path)
{
	char path[MAX_PATH];
	struct fs_file_t file;
	int base = strlen(base_path);

	fs_file_t_init(&file);

	if (base >= (sizeof(path) - SOME_REQUIRED_LEN)) {
		LOG_ERR("[ SDMMC ]Not enough concatenation buffer to create file paths");
		return false;
	}

	LOG_INF("[ SDMMC ]Creating some dir entries in %s", base_path);
	strncpy(path, base_path, sizeof(path));

	path[base++] = '/';
	path[base] = 0;
	strcat(&path[base], SOME_FILE_NAME);

	if (fs_open(&file, path, FS_O_CREATE) != 0) {
		LOG_ERR("[ SDMMC ]Failed to create file %s", path);
		return false;
	}
	fs_close(&file);

	path[base] = 0;
	strcat(&path[base], SOME_DIR_NAME);

	if (fs_mkdir(path) != 0) {
		LOG_ERR("[ SDMMC ]Failed to create dir %s", path);
		/* If code gets here, it has at least successes to create the
		 * file so allow function to return true.
		 */
	}
	return true;
}
#endif

static const char *disk_mount_pt = DISK_MOUNT_PT;


void sd_thread(void)
{
	/* raw disk i/o */
		do {
			static const char *disk_pdrv = DISK_DRIVE_NAME;
			uint64_t memory_size_mb;
			uint32_t block_count;
			uint32_t block_size;

			if (disk_access_ioctl(disk_pdrv,
					DISK_IOCTL_CTRL_INIT, NULL) != 0) {
				LOG_ERR("[ SDMMC ]Storage init ERROR!");
				break;
			}

			if (disk_access_ioctl(disk_pdrv,
					DISK_IOCTL_GET_SECTOR_COUNT, &block_count)) {
				LOG_ERR("[ SDMMC ]Unable to get sector count");
				break;
			}
			LOG_INF("[ SDMMC ]Block count %u", block_count);

			if (disk_access_ioctl(disk_pdrv,
					DISK_IOCTL_GET_SECTOR_SIZE, &block_size)) {
				LOG_ERR("[ SDMMC ]Unable to get sector size");
				break;
			}
			printf("[ SDMMC ]Sector size %u\n", block_size);

			memory_size_mb = (uint64_t)block_count * block_size;
			printf("[ SDMMC ]Memory Size(MB) %u\n", (uint32_t)(memory_size_mb >> 20));

			if (disk_access_ioctl(disk_pdrv,
					DISK_IOCTL_CTRL_DEINIT, NULL) != 0) {
				LOG_ERR("[ SDMMC ]Storage deinit ERROR!");
				break;
			}
		} while (0);
	while(1){
		mp.mnt_point = disk_mount_pt;

		int res = fs_mount(&mp);

		if (res == FS_RET_OK) {
			printf("[ SDMMC ]Disk mounted.\n");
			/* Try to unmount and remount the disk */
			res = fs_unmount(&mp);
			if (res != FS_RET_OK) {
				printf("[ SDMMC ]Error unmounting disk\n");
//				return;
			}
			res = fs_mount(&mp);
			if (res != FS_RET_OK) {
				printf("[ SDMMC ]Error remounting disk\n");
//				return;
			}
			while(1){
			if (lsdir(disk_mount_pt) == 0) {
	#ifdef CONFIG_FS_SAMPLE_CREATE_SOME_ENTRIES
				if (create_some_entries(disk_mount_pt)) {
					lsdir(disk_mount_pt);
				}
	#endif
			}
			k_sleep(K_MSEC(2000));
			}
//			sd_operations(disk_mount_pt);
		} else {
			printf("[ SDMMC ]Error mounting disk.\n");
		}

		fs_unmount(&mp);
	}
		while (1) {
			k_sleep(K_MSEC(1000));
		}
}

/* List dir entry by path
 *
 * @param path Absolute path to list
 *
 * @return Negative errno code on error, number of listed entries on
 *         success.
 */
static int lsdir(const char *path)
{
	int res;
	struct fs_dir_t dirp;
	static struct fs_dirent entry;
	int count = 0;

	fs_dir_t_init(&dirp);

	/* Verify fs_opendir() */
	res = fs_opendir(&dirp, path);
	if (res) {
		printf("[ SDMMC ]Error opening dir %s [%d]\n", path, res);
		return res;
	}

	printf("\n[ SDMMC ]Listing dir %s ...\n", path);
	for (;;) {
		/* Verify fs_readdir() */
		res = fs_readdir(&dirp, &entry);

		/* entry.name[0] == 0 means end-of-dir */
		if (res || entry.name[0] == 0) {
			break;
		}

		if (entry.type == FS_DIR_ENTRY_DIR) {
			printf("[ SDMMC ][DIR ] %s\n", entry.name);
		} else {
			printf("[ SDMMC ][FILE] %s (size = %zu)\n",
				entry.name, entry.size);
		}
		count++;
	}

	/* Verify fs_closedir() */
	fs_closedir(&dirp);
	if (res == 0) {
		res = count;
	}

	return res;
}

int sd_operations(const char *base_path)
{
    char path[MAX_PATH];
    struct fs_file_t file;
    int ret;

    printf("\n--- SD Card File Operations ---\n");

    /* Build full path for the file: <mount_point>/test.txt */
    snprintf(path, sizeof(path), "%s/%s", base_path, "test.txt");

    fs_file_t_init(&file);

    /* -----------------------------
     * 1) CREATE FILE
     * ----------------------------- */
    ret = fs_open(&file, path, FS_O_CREATE | FS_O_WRITE);
    if (ret) {
        printf("Failed to create file %s (%d)\n", path, ret);
        return ret;
    }
    printf("File created: %s\n", path);

    /* -----------------------------
     * 2) WRITE DATA
     * ----------------------------- */
    const char msg1[] = "Hello from Zephyr SD card!\n";

    ret = fs_write(&file, msg1, strlen(msg1));
    if (ret < 0) {
        printf("Failed to write (%d)\n", ret);
        fs_close(&file);
        return ret;
    }
    printf("Wrote %d bytes\n", ret);

    fs_close(&file);

    /* -----------------------------
     * 3) READ BACK
     * ----------------------------- */
    ret = fs_open(&file, path, FS_O_READ);
    if (ret) {
        printf("Failed to reopen file for reading (%d)\n", ret);
        return ret;
    }

    char read_buf[64] = {0};
    ret = fs_read(&file, read_buf, sizeof(read_buf) - 1);
    if (ret < 0) {
        printf("Read error (%d)\n", ret);
        fs_close(&file);
        return ret;
    }

    printf("Read %d bytes: %s\n", ret, read_buf);

    fs_close(&file);

    /* -----------------------------
     * 4) APPEND SOME EXTRA DATA
     * ----------------------------- */
    ret = fs_open(&file, path, FS_O_WRITE | FS_O_APPEND);
    if (ret) {
        printf("Failed to open for append (%d)\n", ret);
        return ret;
    }

    const char msg2[] = "Appending another line.\n";
    ret = fs_write(&file, msg2, strlen(msg2));
    if (ret < 0) {
        printf("Append error (%d)\n", ret);
        fs_close(&file);
        return ret;
    }

    printf("Appended %d bytes\n", ret);
    fs_close(&file);

    /* -----------------------------
     * 5) LIST DIRECTORY (before deletion)
     * ----------------------------- */
    printf("\nDirectory before deleting file:\n");
    lsdir(base_path);

    /* -----------------------------
     * 6) DELETE FILE
     * ----------------------------- */
    printf("\nDeleting file: %s\n", path);

    ret = fs_unlink(path);
    if (ret) {
        printf("File delete failed (%d)\n", ret);
        return ret;
    }

    printf("File deleted successfully.\n");

    /* -----------------------------
     * 7) LIST DIRECTORY (after deletion)
     * ----------------------------- */
    printf("\nDirectory after deleting file:\n");
    lsdir(base_path);

    return 0;
}
```

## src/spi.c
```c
#include <zephyr/logging/log.h>
LOG_MODULE_REGISTER(app, LOG_LEVEL_INF);

#include <zephyr/kernel.h>
#include <zephyr/device.h>
#include <zephyr/devicetree.h>
#include <string.h>
#include <zephyr/drivers/spi.h>
#include <soc_common.h>
#include "exerciser_app.h"

#define Mhz		1000000
#define Khz		1000

/* master_spi and slave_spi aliases are defined in
 * overlay files to use different SPI instance if needed.
 */

#define SPIDW_NODE	DT_ALIAS(master_spi)

/* size of stack area used by each thread */
#define STACKSIZE 1024

/* default SPI master SS(slave select) is H/W controlled,
 * enable this to use as S/W controlled using gpio.
 */
#define SPI_MASTER_SS_SW_CONTROLLED_GPIO   0

/* scheduling priority used by each thread,
 * as we are testing Loopback on the same board,
 * make sure master priority is higher than slave priority.
 */
#define MASTER_PRIORITY 6

/* delay between greetings (in ms) */
#define SLEEPTIME 1000

//K_THREAD_STACK_DEFINE(MasterT_stack, STACKSIZE);
//static struct k_thread MasterT_data;

/* Master and Slave buffer size */
#define BUFF_SIZE  200

/* Master and Slave buffer word size */
#define SPI_WORD_SIZE 8

/* Master and Slave buffer frequency */
#define SPI_FREQUENCY (1 * Mhz)

/* Master and Slave buffers */
static uint32_t master_txdata[BUFF_SIZE];
static uint32_t master_rxdata[BUFF_SIZE];

/*
 * Send/Receive data through master spi
 */
int master_spi_transceive(const struct device *dev,
				 struct spi_cs_control *cs)
{
	struct spi_config cnfg;
	int ret;

	cnfg.frequency = SPI_FREQUENCY;
	cnfg.operation = SPI_OP_MODE_MASTER | SPI_WORD_SET(SPI_WORD_SIZE) | SPI_MODE_LOOP ;
	cnfg.slave = 0;
	cnfg.cs = *cs;

	int length = (BUFF_SIZE) * sizeof(master_txdata[0]);

	struct spi_buf tx_buf = {
		.buf = master_txdata,
		.len = length
	};

	struct spi_buf_set tx_bufset = {
		.buffers = &tx_buf,
		.count = 1
	};

	struct spi_buf rx_buf = {
		.buf = master_rxdata,
		.len = length
	};
	struct spi_buf_set rx_bufset = {
		.buffers = &rx_buf,
		.count = 1
	};

	ret = spi_transceive(dev, &cnfg, &tx_bufset, &rx_bufset);
	if (ret) {
		printf("[ SPI ]ERROR: SPI=%p transceive: %d\n", dev, ret);
	}
	printf("[ SPI ]Master wrote: %08x %08x %08x %08x %08x\n",
		master_txdata[0], master_txdata[1], master_txdata[2],
		master_txdata[3], master_txdata[4]);
	printf("[ SPI ]Master receive: %08x %08x %08x %08x %08x\n",
		master_rxdata[0], master_rxdata[1], master_rxdata[2],
		master_rxdata[3], master_rxdata[4]);

	ret = memcmp(master_txdata, master_rxdata, length);
	if (ret) {
		printf("[ SPI ]ERROR: SPI Master RX & Slave TX DATA NOT MATCHING: %d\n", ret);
	} else {
		printf("[ SPI ]SUCCESS: SPI Master RX & Slave TX DATA IS MATCHING: %d\n", ret);
	}

	return ret;
}

/* DMA configurations */
#define DMA_CTRL_ACK_TYPE_Pos          (16U)
#define DMA_CTRL_ENA                   (1U << 4)

#define HE_DMA_SEL_LPSPI_Pos           (4)
#define HE_DMA_SEL_LPSPI_Msk           (0x3U << HE_DMA_SEL_LPSPI_Pos)

#if DT_NODE_HAS_COMPAT_STATUS(DT_NODELABEL(dma2), arm_dma_pl330, okay) /* dma2 */

#if (IS_ENABLED(CONFIG_SOC_SERIES_E1C) ||  \
	IS_ENABLED(CONFIG_SOC_SERIES_B1)) /* E1C/B1 dma2 */

#if DT_NODE_HAS_PROP(DT_NODELABEL(lpspi0), dmas) /* E1C/B1 LPSPI0 dma2 */
static void configure_lpspi0_for_dma2(void)
{
	/* Enable LPSPI EVTRTR channel */
	#define LPSPI_DMA_RX_PERIPH_REQ		12
	#define LPSPI_DMA_TX_PERIPH_REQ		13
	#define LPSPI_DMA_GROUP             1

	uint32_t regdata;

	printf("\n[ SPI ] configure lpspi0 for dma2\n");

	/* select DMA2 group 1 for LPSPI (default dma2 group 1) */
	sys_clear_bits(M55HE_CFG_HE_DMA_SEL, HE_DMA_SEL_LPSPI_Msk);

	/* channel enable for LPSPI-RX */
	sys_write32(DMA_CTRL_ENA |
			(0 << DMA_CTRL_ACK_TYPE_Pos)|
			(LPSPI_DMA_GROUP),
			EVTRTRLOCAL_DMA_CTRL0 + (LPSPI_DMA_RX_PERIPH_REQ * 4));

	/* DMA Handshake enable LPSPI-RX */
	regdata = sys_read32(EVTRTRLOCAL_DMA_ACK_TYPE0 + (LPSPI_DMA_GROUP * 4));
	regdata |= (1 << LPSPI_DMA_RX_PERIPH_REQ);
	sys_write32(regdata, EVTRTRLOCAL_DMA_ACK_TYPE0 + (LPSPI_DMA_GROUP * 4));

	/* channel enable for LPSPI-TX */
	sys_write32(DMA_CTRL_ENA |
			(0 << DMA_CTRL_ACK_TYPE_Pos)|
			(LPSPI_DMA_GROUP),
			EVTRTRLOCAL_DMA_CTRL0 + (LPSPI_DMA_TX_PERIPH_REQ * 4));

	/* DMA Handshake enable LPSPI-TX */
	regdata = sys_read32(EVTRTRLOCAL_DMA_ACK_TYPE0 + (LPSPI_DMA_GROUP * 4));
	regdata |= (1 << LPSPI_DMA_TX_PERIPH_REQ);
	sys_write32(regdata, EVTRTRLOCAL_DMA_ACK_TYPE0 + (LPSPI_DMA_GROUP * 4));
}
#endif /* E1C/B1 LPSPI0 dma2 */

#if DT_NODE_HAS_PROP(DT_NODELABEL(spi0), dmas) /* E1C/B1 SPI0 dma2 */
static void configure_spi0_for_dma2(void)
{
	/* Enable SPI0 dma2 EVTRTR channel */
	#define SPI0_DMA_RX_PERIPH_REQ         16
	#define SPI0_DMA_TX_PERIPH_REQ         20
	#define SPI0_DMA_GROUP                 2

	uint32_t regdata;

	printf("\n[ SPI ] configure spi0 for dma2\n");

	/* channel enable SPI0-RX */
	sys_write32(DMA_CTRL_ENA |
			(0 << DMA_CTRL_ACK_TYPE_Pos)|
			(SPI0_DMA_GROUP),
			EVTRTRLOCAL_DMA_CTRL0 + (SPI0_DMA_RX_PERIPH_REQ * 4));

	/* DMA Handshake enable SPI0-RX */
	regdata = sys_read32(EVTRTRLOCAL_DMA_ACK_TYPE0 + (SPI0_DMA_GROUP * 4));
	regdata |= (1 << SPI0_DMA_RX_PERIPH_REQ);
	sys_write32(regdata, EVTRTRLOCAL_DMA_ACK_TYPE0 + (SPI0_DMA_GROUP * 4));

	/* channel enable SPI0-TX */
	sys_write32(DMA_CTRL_ENA |
			(0 << DMA_CTRL_ACK_TYPE_Pos)|
			(SPI0_DMA_GROUP),
			EVTRTRLOCAL_DMA_CTRL0 + (SPI0_DMA_TX_PERIPH_REQ * 4));

	/* DMA Handshake enable SPI0-TX */
	regdata = sys_read32(EVTRTRLOCAL_DMA_ACK_TYPE0 + (SPI0_DMA_GROUP * 4));
	regdata |= (1 << SPI0_DMA_TX_PERIPH_REQ);
	sys_write32(regdata, EVTRTRLOCAL_DMA_ACK_TYPE0 + (SPI0_DMA_GROUP * 4));
}
#endif /* E1C/B1 SPI0 dma2 */

#endif /* E1C/B1 dma2 */
#endif /* dma2 */

static void prepare_data(uint32_t *data, uint16_t def_mask)
{
	for (uint32_t cnt = 0; cnt < BUFF_SIZE; cnt++) {
		data[cnt] = (def_mask << 16) | cnt;
	}
}

void spi_thread(void)
{
	const struct device *const dev = DEVICE_DT_GET(SPIDW_NODE);
	int ret;

	//ARG_UNUSED(p1);
	//ARG_UNUSED(p2);
	//ARG_UNUSED(p3);
	
	#if DT_NODE_HAS_COMPAT_STATUS(DT_NODELABEL(dma2), arm_dma_pl330, okay) /* dma2 */

	#if (IS_ENABLED(CONFIG_SOC_SERIES_E1C) || \
	IS_ENABLED(CONFIG_SOC_SERIES_B1)) /* E1C/B1 dma2 */

	#if DT_NODE_HAS_PROP(DT_NODELABEL(lpspi0), dmas) /* E1C/B1 LPSPI0 dma2 */
	configure_lpspi0_for_dma2();
	#endif

	#if DT_NODE_HAS_PROP(DT_NODELABEL(spi0), dmas) /* E1C/B1 SPI0 dma2 */
	configure_spi0_for_dma2();
	#endif
	/* end E1C/B1 dma2 */

	#endif
	#endif /* dma2 */

	if (!device_is_ready(dev)) {
		printf("[ SPI ]%s: Master device not ready.\n", dev->name);
		return;
	}
	prepare_data(master_txdata, 0xA5A5);

#if SPI_MASTER_SS_SW_CONTROLLED_GPIO /* SPI master SS as S/W controlled using gpio */
	struct spi_cs_control cs_ctrl = (struct spi_cs_control){
		.gpio  = GPIO_DT_SPEC_GET(SPIDW_NODE, cs_gpios),
		.delay = 100u, /* k_busy_wait(uint32_t usec_to_wait) */
	};
#else /* SPI master SS as H/W controlled */
	struct spi_cs_control cs_ctrl = {0};
#endif /* SPI_MASTER_SS_SW_CONTROLLED_GPIO */

	while (1) {
		ret = master_spi_transceive(dev, &cs_ctrl);
		k_msleep(SLEEPTIME);
		if (ret < 0) {
			printf("[ SPI ]Stopping the Master Thread due to error\n");
			return;
		}
	}
	printf("[ SPI ]Master Transfer Successfully Completed\n");
}
```
